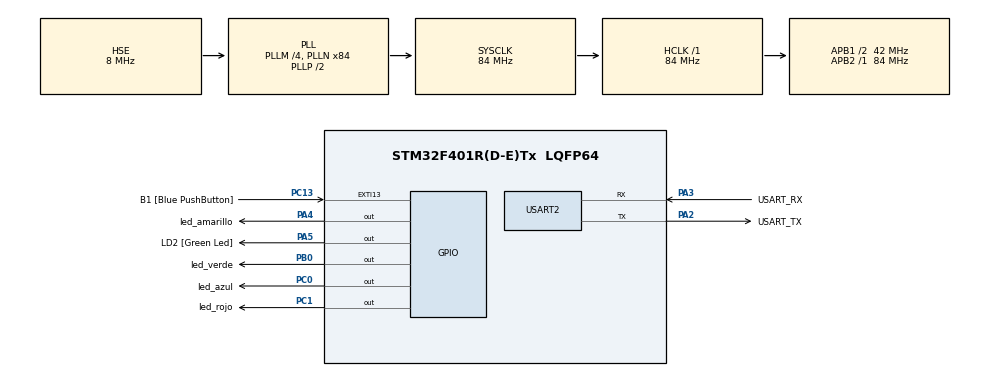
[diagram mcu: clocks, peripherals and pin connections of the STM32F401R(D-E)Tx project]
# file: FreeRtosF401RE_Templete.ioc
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FREERTOS.Tasks01=defaultTask,24,128,StartDefaultTask,Default,NULL,Dynamic,NULL,NULL
Mcu.Family=STM32F4
Mcu.Name=STM32F401R(D-E)Tx
Mcu.Package=LQFP64
NVIC.PriorityGroup=NVIC_PRIORITYGROUP_4
NVIC.TIM1_UP_TIM10_IRQn=true\:15\:0\:false\:false\:true\:false\:false\:true\:true
NVIC.TimeBase=TIM1_UP_TIM10_IRQn
NVIC.TimeBaseIP=TIM1
PA13.GPIO_Label=TMS
PA13.Mode=Serial_Wire
PA13.Signal=SYS_JTMS-SWDIO
PA14.GPIO_Label=TCK
PA14.Mode=Serial_Wire
PA14.Signal=SYS_JTCK-SWCLK
PA2.GPIO_Label=USART_TX
PA2.GPIO_Mode=GPIO_MODE_AF_PP
PA2.GPIO_PuPd=GPIO_NOPULL
PA2.GPIO_Speed=GPIO_SPEED_FREQ_LOW
PA2.Mode=Asynchronous
PA2.Signal=USART2_TX
PA3.GPIO_Label=USART_RX
PA3.GPIO_Mode=GPIO_MODE_AF_PP
PA3.GPIO_PuPd=GPIO_NOPULL
PA3.GPIO_Speed=GPIO_SPEED_FREQ_LOW
PA3.Mode=Asynchronous
PA3.Signal=USART2_RX
PA4.GPIO_Label=led_amarillo
PA4.Signal=GPIO_Output
PA5.GPIO_Label=LD2 [Green Led]
PA5.GPIO_Mode=GPIO_MODE_OUTPUT_PP
PA5.GPIO_PuPd=GPIO_NOPULL
PA5.GPIO_Speed=GPIO_SPEED_FREQ_LOW
PA5.Signal=GPIO_Output
PB0.GPIO_Label=led_verde
PB0.Signal=GPIO_Output
PB3.GPIO_Label=SWO
PB3.Signal=SYS_JTDO-SWO
PC0.GPIO_Label=led_azul
PC0.Signal=GPIO_Output
PC1.GPIO_Label=led_rojo
PC1.Signal=GPIO_Output
PC13-ANTI_TAMP.GPIO_Label=B1 [Blue PushButton]
PC13-ANTI_TAMP.GPIO_ModeDefaultEXTI=GPIO_MODE_IT_FALLING
PC13-ANTI_TAMP.GPIO_PuPd=GPIO_NOPULL
PC13-ANTI_TAMP.Signal=GPXTI13
PC14-OSC32_IN.Mode=LSE-External-Oscillator
PC14-OSC32_IN.Signal=RCC_OSC32_IN
PC15-OSC32_OUT.Mode=LSE-External-Oscillator
PC15-OSC32_OUT.Signal=RCC_OSC32_OUT
PH0\ -\ OSC_IN.Mode=HSE-External-Clock-Source
PH0\ -\ OSC_IN.Signal=RCC_OSC_IN
PH1\ -\ OSC_OUT.Mode=HSE-External-Clock-Source
PH1\ -\ OSC_OUT.Signal=RCC_OSC_OUT
ProjectManager.HeapSize=0x200
ProjectManager.StackSize=0x400
ProjectManager.TargetToolchain=STM32CubeIDE
RCC.48MHZClocksFreq_Value=24000000
RCC.AHBFreq_Value=84000000
RCC.APB1CLKDivider=RCC_HCLK_DIV2
RCC.APB1Freq_Value=42000000
RCC.APB1TimFreq_Value=84000000
RCC.APB2Freq_Value=84000000
RCC.APB2TimFreq_Value=84000000
RCC.CortexFreq_Value=84000000
RCC.HCLKFreq_Value=84000000
RCC.HSE_VALUE=8000000
RCC.HSI_VALUE=16000000
RCC.PLLM=4
RCC.PLLN=84
RCC.PLLQ=7
RCC.PLLSourceVirtual=RCC_PLLSOURCE_HSE
RCC.SYSCLKFreq_VALUE=84000000
RCC.SYSCLKSource=RCC_SYSCLKSOURCE_PLLCLK
RCC.VCOOutputFreq_Value=168000000
USART2.VirtualMode=VM_ASYNC
VP_FREERTOS_VS_CMSIS_V2.Mode=CMSIS_V2
VP_SYS_VS_tim1.Mode=TIM1
board=NUCLEO-F401RE

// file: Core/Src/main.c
/* USER CODE BEGIN Header */
/**
  ******************************************************************************
  * @file           : main.c
  * @brief          : Main program body
  ******************************************************************************
  * @attention
  *
  * Copyright (c) 2024 STMicroelectronics.
  * All rights reserved.
  *
  * This software is licensed under terms that can be found in the LICENSE file
  * in the root directory of this software component.
  * If no LICENSE file comes with this software, it is provided AS-IS.
  *
  ******************************************************************************
  */
/* USER CODE END Header */
#include "main.h"
#include "cmsis_os.h"

UART_HandleTypeDef huart2;

/* Definitions for defaultTask */
osThreadId_t defaultTaskHandle;
const osThreadAttr_t defaultTask_attributes = {
  .name = "defaultTask",
  .stack_size = 128 * 4,
  .priority = (osPriority_t) osPriorityNormal,
};
/* USER CODE BEGIN PV */
typedef uint32_t TaskProfiler_t ;

TaskProfiler_t 	a=0;
TaskProfiler_t	b=0;
TaskProfiler_t	c=0;
TaskProfiler_t	idleTaskProfiler=0;

//pointers of the led
//const uint16_t * Blue_led = (uint16_t *)led_1_Pin;
//const uint16_t * Red_led = (uint16_t *)led_2_Pin;
//const uint16_t * Green_led = (uint16_t *)led_3_Pin;
//const uint16_t * Orange_led =(uint16_t *) led_4_Pin;

const TickType_t _250ms = pdMS_TO_TICKS(250);
const TickType_t _100ms = pdMS_TO_TICKS(100);
const TickType_t _1000ms = pdMS_TO_TICKS(1000);
/* USER CODE END PV */

void SystemClock_Config(void);
static void MX_GPIO_Init(void);
static void MX_USART2_UART_Init(void);
void StartDefaultTask(void *argument);

/* USER CODE BEGIN PFP */
void SerialUartSendString(char *ptr);
void SenderTask(void *pvParameters);
void ReceiverTask(void *pvParameters);
void LedsController(void *pvParameters);
void SerialUartSendString(char *ptr);
TaskHandle_t sender_handle,receiver_handle;
QueueHandle_t yearQueue;
/* USER CODE END PFP */

int main(void)
{

  /* MCU Configuration--------------------------------------------------------*/

  /* Reset of all peripherals, Initializes the Flash interface and the Systick. */
  HAL_Init();

  /* Configure the system clock */
  SystemClock_Config();

  /* Initialize all configured peripherals */
  MX_GPIO_Init();
  MX_USART2_UART_Init();

  /* Init scheduler */
  osKernelInitialize();

  /* USER CODE BEGIN RTOS_QUEUES */
  /* add queues, ... */
  yearQueue=xQueueCreate(5,sizeof(uint16_t));
  /* USER CODE END RTOS_QUEUES */

  /* Create the thread(s) */
  /* creation of defaultTask */
  //defaultTaskHandle = osThreadNew(StartDefaultTask, NULL, &defaultTask_attributes);

  /* Start scheduler */
  //osKernelStart();

  /* We should never get here as control is now taken by the scheduler */
  /* Infinite loop */
  /* USER CODE BEGIN WHILE */
  vTaskStartScheduler();//star the scheduler

  while (1)
  {
    /* USER CODE END WHILE */

  }
}

void SystemClock_Config(void)
{
  RCC_OscInitTypeDef RCC_OscInitStruct = {0};
  RCC_ClkInitTypeDef RCC_ClkInitStruct = {0};

  /** Configure the main internal regulator output voltage
  */
  __HAL_RCC_PWR_CLK_ENABLE();
  __HAL_PWR_VOLTAGESCALING_CONFIG(PWR_REGULATOR_VOLTAGE_SCALE2);

  /** Initializes the RCC Oscillators according to the specified parameters
  * in the RCC_OscInitTypeDef structure.
  */
  RCC_OscInitStruct.OscillatorType = RCC_OSCILLATORTYPE_HSE;
  RCC_OscInitStruct.HSEState = RCC_HSE_BYPASS;
  RCC_OscInitStruct.PLL.PLLState = RCC_PLL_ON;
  RCC_OscInitStruct.PLL.PLLSource = RCC_PLLSOURCE_HSE;
  RCC_OscInitStruct.PLL.PLLM = 4;
  RCC_OscInitStruct.PLL.PLLN = 84;
  RCC_OscInitStruct.PLL.PLLP = RCC_PLLP_DIV2;
  RCC_OscInitStruct.PLL.PLLQ = 7;
  if (HAL_RCC_OscConfig(&RCC_OscInitStruct) != HAL_OK)
  {
    Error_Handler();
  }

  /** Initializes the CPU, AHB and APB buses clocks
  */
  RCC_ClkInitStruct.ClockType = RCC_CLOCKTYPE_HCLK|RCC_CLOCKTYPE_SYSCLK
                              |RCC_CLOCKTYPE_PCLK1|RCC_CLOCKTYPE_PCLK2;
  RCC_ClkInitStruct.SYSCLKSource = RCC_SYSCLKSOURCE_PLLCLK;
  RCC_ClkInitStruct.AHBCLKDivider = RCC_SYSCLK_DIV1;
  RCC_ClkInitStruct.APB1CLKDivider = RCC_HCLK_DIV2;
  RCC_ClkInitStruct.APB2CLKDivider = RCC_HCLK_DIV1;

  if (HAL_RCC_ClockConfig(&RCC_ClkInitStruct, FLASH_LATENCY_2) != HAL_OK)
  {
    Error_Handler();
  }
}

static void MX_USART2_UART_Init(void)
{

  huart2.Instance = USART2;
  huart2.Init.BaudRate = 115200;
  huart2.Init.WordLength = UART_WORDLENGTH_8B;
  huart2.Init.StopBits = UART_STOPBITS_1;
  huart2.Init.Parity = UART_PARITY_NONE;
  huart2.Init.Mode = UART_MODE_TX_RX;
  huart2.Init.HwFlowCtl = UART_HWCONTROL_NONE;
  huart2.Init.OverSampling = UART_OVERSAMPLING_16;
  if (HAL_UART_Init(&huart2) != HAL_OK)
  {
    Error_Handler();
  }

}

static void MX_GPIO_Init(void)
{
  GPIO_InitTypeDef GPIO_InitStruct = {0};

  /* GPIO Ports Clock Enable */
  __HAL_RCC_GPIOC_CLK_ENABLE();
  __HAL_RCC_GPIOH_CLK_ENABLE();
  __HAL_RCC_GPIOA_CLK_ENABLE();
  __HAL_RCC_GPIOB_CLK_ENABLE();

  /*Configure GPIO pin Output Level */
  HAL_GPIO_WritePin(GPIOC, led_azul_Pin|led_rojo_Pin, GPIO_PIN_RESET);

  /*Configure GPIO pin Output Level */
  HAL_GPIO_WritePin(GPIOA, led_amarillo_Pin|LD2_Pin, GPIO_PIN_RESET);

  /*Configure GPIO pin Output Level */
  HAL_GPIO_WritePin(led_verde_GPIO_Port, led_verde_Pin, GPIO_PIN_RESET);

  /*Configure GPIO pin : B1_Pin */
  GPIO_InitStruct.Pin = B1_Pin;
  GPIO_InitStruct.Mode = GPIO_MODE_IT_FALLING;
  GPIO_InitStruct.Pull = GPIO_NOPULL;
  HAL_GPIO_Init(B1_GPIO_Port, &GPIO_InitStruct);

  /*Configure GPIO pins : led_azul_Pin led_rojo_Pin */
  GPIO_InitStruct.Pin = led_azul_Pin|led_rojo_Pin;
  GPIO_InitStruct.Mode = GPIO_MODE_OUTPUT_PP;
  GPIO_InitStruct.Pull = GPIO_NOPULL;
  GPIO_InitStruct.Speed = GPIO_SPEED_FREQ_LOW;
  HAL_GPIO_Init(GPIOC, &GPIO_InitStruct);

  /*Configure GPIO pins : led_amarillo_Pin LD2_Pin */
  GPIO_InitStruct.Pin = led_amarillo_Pin|LD2_Pin;
  GPIO_InitStruct.Mode = GPIO_MODE_OUTPUT_PP;
  GPIO_InitStruct.Pull = GPIO_NOPULL;
  GPIO_InitStruct.Speed = GPIO_SPEED_FREQ_LOW;
  HAL_GPIO_Init(GPIOA, &GPIO_InitStruct);

  /*Configure GPIO pin : led_verde_Pin */
  GPIO_InitStruct.Pin = led_verde_Pin;
  GPIO_InitStruct.Mode = GPIO_MODE_OUTPUT_PP;
  GPIO_InitStruct.Pull = GPIO_NOPULL;
  GPIO_InitStruct.Speed = GPIO_SPEED_FREQ_LOW;
  HAL_GPIO_Init(led_verde_GPIO_Port, &GPIO_InitStruct);

}

/* USER CODE BEGIN 4 */

void SenderTask(void *pvParameters)
{
	uint16_t valuleToSend =2051;
	BaseType_t qStatus;
	while(1)
	{
		//the first vaule is the queue, the second is the data and the thrid is the timeout that queue wait in blocking state

		qStatus=xQueueSend(yearQueue,&valuleToSend,0);
		if(qStatus!=pdPASS)
		{
			//printf("Error : Data could no be send... \r\n");

		}
		for(uint32_t i=0; i<100000; i++);
	//vTaskDelay(_100ms);

	}

}
void ReceiverTask(void *pvParameters)
{
	uint16_t value_received;
	BaseType_t qstatus;
	const TickType_t wait_time = pdMS_TO_TICKS(100);
	char buffer[100];
	while(1)
	{
		qstatus=xQueueReceive(yearQueue, &value_received, _250ms);
		if(qstatus == pdPASS)
		{

			//printf(buffer);
			SerialUartSendString("Queue received ");
			sprintf(buffer,"%i",value_received);
			SerialUartSendString(buffer);
			SerialUartSendString("\r\n");
			//printf("The value received\n");
			//if
			//HAL_GPIO_TogglePin(led_1_GPIO_Port, led_1_Pin);
			//vTaskDelay(_100ms);
		}
		else
		{

			SerialUartSendString("Error! could no receive...\r\n");
		}
		//HAL_GPIO_TogglePin(led_1_GPIO_Port, led_1_Pin);
			//vTaskDelay(_100ms);
	}

}

void LedsController(void *pvParameters)
{
		while(1)
	{
			HAL_GPIO_TogglePin(led_azul_GPIO_Port,led_azul_Pin);
			vTaskDelay(_1000ms);

	}

}

//create callback from
void vApplicationIdleHook(void)
{

idleTaskProfiler++;
}

void SerialUartSendString(char *ptr)
{
uint16_t DataLen = strlen(ptr);
HAL_UART_Transmit(&huart2, (const uint8_t *)ptr, DataLen, HAL_MAX_DELAY);
}

/* USER CODE END 4 */

void StartDefaultTask(void *argument)
{
  for(;;)
  {
    osDelay(1);
  }
}

void HAL_TIM_PeriodElapsedCallback(TIM_HandleTypeDef *htim)
{
  if (htim->Instance == TIM1) {
    HAL_IncTick();
  }
}

void Error_Handler(void)
{
  __disable_irq();
  while (1)
  {
  }
}
